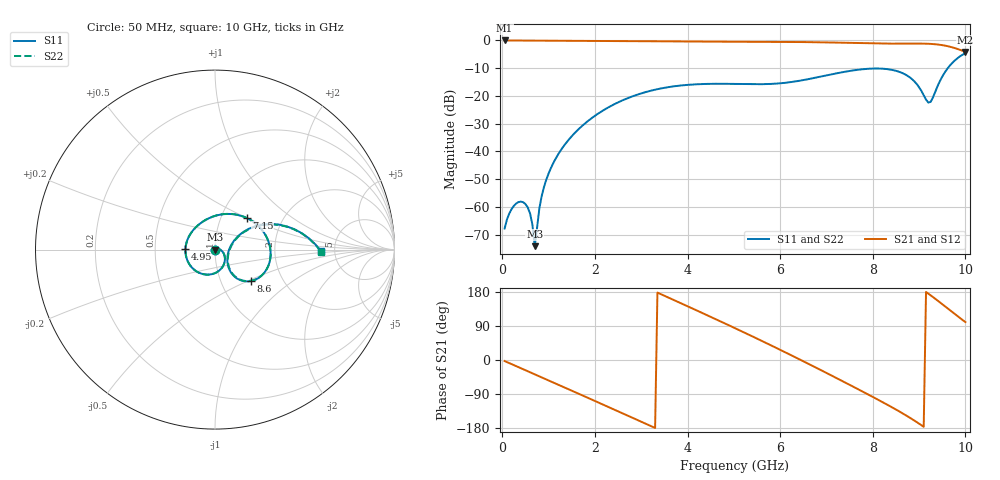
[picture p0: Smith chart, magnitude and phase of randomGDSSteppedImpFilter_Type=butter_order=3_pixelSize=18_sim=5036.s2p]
! freq	dB(S11)	phase(S11)	dB(S12)	phase(S12)
!  dB(S21)	phase(S21)	dB(S22)	phase(S22)
!S-par simulation data
#  GHz  S  DB  R 50
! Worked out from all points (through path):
!   200 points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, 50 MHz to 10 GHz, reference 50 ohm
!   highest |S21| = -0.01 dB at 50 MHz (marker M1); lowest = -4.1 dB at 10 GHz (marker M2)
!   group delay of S21, straight-line fit = 166 ps
!   lowest |S11| = -74.2 dB at 700 MHz (marker M3), VSWR 1.00, Z = 50 + j0.00183 ohm
!   |S11| at or under -10 dB: start of sweep to 9.62 GHz
!   |S22| runs from -74.0 to -4.6 dB; largest |S21 - S12| = 0
!   S11 on the Smith chart (normalised r, x): 50 MHz: 1.00, -0.00; 4.95 GHz: 0.72, +0.01; 7.15 GHz: 1.32, +0.50; 8.6 GHz: 1.39, -0.52; 10 GHz: 3.89, -0.11
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0.05  -67.78 -0.5  -0.01 -2.7  -0.01 -2.7  -67.78 -0.5
0.25  -59.61 -76.8  -0.02 -13.6  -0.02 -13.6  -59.61 -76.9
0.45  -58.32 -103.1  -0.04 -24.3  -0.04 -24.3  -58.31 -103.2
0.6  -62.39 -122.0  -0.05 -32.4  -0.05 -32.4  -62.37 -122.2
0.7  -74.16 174.6  -0.05 -37.8  -0.05 -37.8  -73.98 174.6
0.85  -56.16 58.8  -0.06 -45.8  -0.06 -45.8  -56.17 59.0
1  -47.95 44.9  -0.06 -53.9  -0.06 -53.9  -47.96 45.0
1.75  -30.42 -1.6  -0.11 -94.5  -0.11 -94.5  -30.42 -1.5
2.65  -21.21 -51.9  -0.21 -143.6  -0.21 -143.6  -21.21 -51.8
3.4  -17.39 -94.1  -0.31 175.1  -0.31 175.1  -17.39 -94.0
4.25  -15.76 -141.7  -0.41 127.9  -0.41 127.9  -15.76 -141.4
4.95  -15.67 178.6  -0.46 88.3  -0.46 88.3  -15.67 178.9
5.05  -15.70 172.7  -0.46 82.6  -0.46 82.6  -15.69 173.1
5.95  -15.52 118.7  -0.51 29.9  -0.51 29.9  -15.52 119.2
6.7  -13.65 72.7  -0.63 -15.6  -0.63 -15.6  -13.65 73.2
7.15  -12.08 45.1  -0.76 -43.5  -0.76 -43.5  -12.08 45.6
7.75  -10.43 8.8  -0.99 -81.3  -0.99 -81.3  -10.43 9.3
8.35  -10.43 -26.9  -1.15 -120.4  -1.15 -120.4  -10.42 -26.4
8.6  -11.49 -41.2  -1.15 -137.7  -1.15 -137.7  -11.48 -40.6
9.2  -22.39 -20.6  -1.21 175.1  -1.21 175.1  -22.07 -20.1
9.65  -9.36 24.8  -2.20 132.8  -2.20 132.8  -9.34 24.4
10  -4.57 -0.9  -4.14 100.1  -4.14 100.1  -4.56 -1.1
